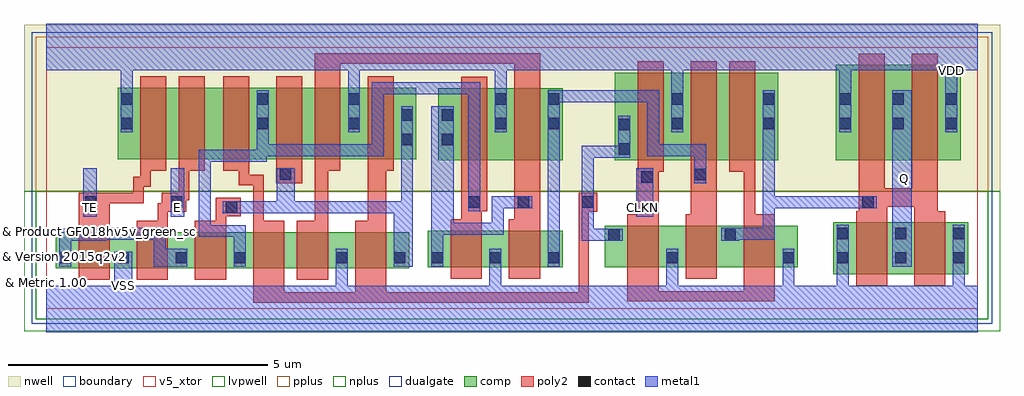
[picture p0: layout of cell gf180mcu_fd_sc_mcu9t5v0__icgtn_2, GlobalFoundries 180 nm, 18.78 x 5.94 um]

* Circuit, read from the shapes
.subckt gf180mcu_fd_sc_mcu9t5v0__icgtn_2 CLKN E Q TE VDD VSS
XM1 VSS TE n1 VSUBS nfet_05v0 w=0.7u l=0.6u
XM2 n1 E VSS VSUBS nfet_05v0 w=0.7u l=0.6u
XM3 n2 n3 n1 VSUBS nfet_05v0 w=0.7u l=0.6u
XM4 n4 n5 n2 VSUBS nfet_05v0 w=0.7u l=0.6u
XM5 VSS n6 n4 VSUBS nfet_05v0 w=0.7u l=0.6u
XM6 n3 n5 VSS VSUBS nfet_05v0 w=0.7u l=0.6u
XM7 VSS n2 n6 VSUBS nfet_05v0 w=0.7u l=0.6u
XM8 n7 n6 VSS VSUBS nfet_05v0 w=0.7u l=0.6u
XM9 VSS CLKN n5 VSUBS nfet_05v0 w=0.8u l=0.6u
XM10 n8 n7 VSS VSUBS nfet_05v0 w=0.8u l=0.6u
XM11 VSS CLKN n8 VSUBS nfet_05v0 w=0.8u l=0.6u
XM12 Q n8 VSS VSUBS nfet_05v0 w=1u l=0.6u m=2
XM13 n9 TE VDD n10 pfet_05v0 w=1.38u l=0.5u
XM14 n11 E n9 n10 pfet_05v0 w=1.38u l=0.5u
XM15 n2 n5 n11 n10 pfet_05v0 w=1.38u l=0.5u
XM16 n12 n3 n2 n10 pfet_05v0 w=1.38u l=0.5u
XM17 VDD n6 n12 n10 pfet_05v0 w=1.38u l=0.5u
XM18 n3 n5 VDD n10 pfet_05v0 w=1.38u l=0.5u
XM19 VDD n2 n6 n10 pfet_05v0 w=1.38u l=0.5u
XM20 n7 n6 VDD n10 pfet_05v0 w=1.38u l=0.5u
XM21 VDD CLKN n5 n10 pfet_05v0 w=1.68u l=0.5u
XM22 n13 n7 VDD n10 pfet_05v0 w=1.68u l=0.5u
XM23 n8 CLKN n13 n10 pfet_05v0 w=1.68u l=0.5u
XM24 Q n8 VDD n10 pfet_05v0 w=1.83u l=0.5u m=2
.ends

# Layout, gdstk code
import gdstk
lib = gdstk.Library(unit=1e-6, precision=1e-09)
def R(c, l, rs):  # rectangles x0, y0, x1, y1
    for r in rs: c.add(gdstk.rectangle(r[:2], r[2:], *l))
def A(c, l, x, y, w, h, nx, ny, dx, dy):  # array of equal rectangles
    R(c, l, [(x+i*dx, y+j*dy, x+i*dx+w, y+j*dy+h) for i in range(nx) for j in range(ny)])
def P(c, l, *ps):  # polygons
    for p in ps: c.add(gdstk.Polygon(p, *l))
boundary = (0, 0)
nwell = (21, 0)
comp = (22, 0)
poly2 = (30, 0)
pplus = (31, 0)
nplus = (32, 0)
contact = (33, 0)
metal1 = (34, 0)
dualgate = (55, 0)
v5_xtor = (112, 1)
lvpwell = (204, 0)

gf180mcu_fd_sc_mcu9t5v0_ = lib.new_cell('gf180mcu_fd_sc_mcu9t5v0__icgtn_2')
R(gf180mcu_fd_sc_mcu9t5v0_, boundary, [(0,0,17.92,5.04)])
R(gf180mcu_fd_sc_mcu9t5v0_, nwell, [(-0.43,2.265,18.35,5.47)])
R(gf180mcu_fd_sc_mcu9t5v0_, comp, [(15.14,0.665,17.74,1.665), (0.18,0.78,6.98,1.48), (7.34,0.805,9.94,1.505), (10.74,0.805,14.46,1.605), (7.54,2.865,9.94,4.245), (10.94,2.865,14.08,4.545), (15.19,2.865,17.59,4.695), (1.37,2.88,7.12,4.26)])
R(gf180mcu_fd_sc_mcu9t5v0_, poly2, [(4.42,2.415,4.92,4.48)])
P(gf180mcu_fd_sc_mcu9t5v0_, poly2, [(0.62,0.56),(0.62,2.235),(1.675,2.235),(1.675,2.545),(1.81,2.545),(1.81,4.48),(2.31,4.48),(2.31,2.66),(2.01,2.66),(2.01,2.355),(1.875,2.355),(1.875,2.035),(1.22,2.035),(1.22,0.56)],
  [(1.74,0.56),(1.74,1.7),(2.14,1.7),(2.14,2.035),(2.22,2.035),(2.22,2.235),(2.55,2.235),(2.55,4.48),(3.05,4.48),(3.05,2.66),(2.75,2.66),(2.75,2.095),(2.695,2.095),(2.695,1.875),(2.34,1.875),(2.34,0.56)],
  [(2.86,0.56),(2.86,1.7),(3.26,1.7),(3.26,2.14),(3.74,2.14),(3.74,1.78),(3.46,1.78),(3.46,0.56)],
  [(7.78,0.585),(7.78,1.725),(7.98,1.725),(7.98,4.465),(8.48,4.465),(8.48,1.885),(8.38,1.885),(8.38,0.585)],
  [(4.82,0.56),(4.82,1.7),(5.16,1.7),(5.16,4.92),(9.5,4.92),(9.5,0.585),(8.9,0.585),(8.9,1.725),(9,1.725),(9,4.72),(5.66,4.72),(5.66,2.66),(5.42,2.66),(5.42,0.56)],
  [(3.98,0.12),(3.98,2.38),(3.7,2.38),(3.7,2.66),(3.4,2.66),(3.4,4.48),(3.9,4.48),(3.9,2.58),(4.18,2.58),(4.18,1.7),(4.58,1.7),(4.58,0.32),(5.94,0.32),(5.94,1.7),(6.18,1.7),(6.18,4.48),(6.68,4.48),(6.68,2.66),(6.54,2.66),(6.54,0.32),(10.24,0.32),(10.24,2.235),(10.6,2.235),(10.6,1.875),(10.44,1.875),(10.44,0.12)],
  [(12.3,0.585),(12.3,1.825),(12.4,1.825),(12.4,4.765),(12.9,4.765),(12.9,0.585)],
  [(11.18,0.145),(11.18,1.825),(11.38,1.825),(11.38,4.765),(11.88,4.765),(11.88,2.645),(11.78,2.645),(11.78,0.345),(13.42,0.345),(13.42,2.645),(13.14,2.645),(13.14,4.765),(13.64,4.765),(13.64,1.825),(14.02,1.825),(14.02,0.145)],
  [(15.58,0.445),(15.58,1.885),(15.63,1.885),(15.63,4.915),(16.13,4.915),(16.13,2.325),(16.65,2.325),(16.65,4.915),(17.15,4.915),(17.15,1.885),(17.3,1.885),(17.3,0.445),(16.7,0.445),(16.7,1.965),(16.18,1.965),(16.18,0.445)])
R(gf180mcu_fd_sc_mcu9t5v0_, pplus, [(-0.2,2.265,18.12,5.24)])
R(gf180mcu_fd_sc_mcu9t5v0_, nplus, [(-0.2,-0.2,18.12,2.265)])
A(gf180mcu_fd_sc_mcu9t5v0_, contact, 0.25, 0.875, 0.22, 0.22, 4, 1, 1.12, 0)
A(gf180mcu_fd_sc_mcu9t5v0_, contact, 7.41, 0.875, 0.22, 0.22, 3, 1, 1.12, 0)
A(gf180mcu_fd_sc_mcu9t5v0_, contact, 15.21, 0.875, 0.22, 0.22, 3, 2, 1.12, 0.47)
A(gf180mcu_fd_sc_mcu9t5v0_, contact, 15.26, 3.46, 0.22, 0.22, 3, 2, 1.02, 0.47)
R(gf180mcu_fd_sc_mcu9t5v0_, contact, [(5.57,0.875,5.79,1.095), (6.69,0.875,6.91,1.095), (11.93,0.875,12.15,1.095), (14.17,0.875,14.39,1.095), (10.81,1.315,11.03,1.535), (13.05,1.315,13.27,1.535), (3.45,1.85,3.67,2.07), (0.745,1.945,0.965,2.165), (2.395,1.945,2.615,2.165), (8.12,1.945,8.34,2.165), (9.07,1.945,9.29,2.165), (10.31,1.945,10.53,2.165), (15.7,1.945,15.92,2.165), (11.45,2.43,11.67,2.65), (12.47,2.475,12.69,2.695), (4.495,2.485,4.715,2.705), (11.01,2.97,11.23,3.19), (6.83,3.15,7.05,3.37), (7.61,3.15,7.83,3.37), (11.01,3.44,11.23,3.66), (1.44,3.46,1.66,3.68), (4.05,3.46,4.27,3.68), (5.81,3.46,6.03,3.68), (8.63,3.46,8.85,3.68), (9.65,3.46,9.87,3.68), (12.03,3.46,12.25,3.68), (13.79,3.46,14.01,3.68), (6.83,3.62,7.05,3.84), (7.61,3.62,7.83,3.84), (1.44,3.93,1.66,4.15), (4.05,3.93,4.27,4.15), (5.81,3.93,6.03,4.15), (8.63,3.93,8.85,4.15), (9.65,3.93,9.87,4.15), (12.03,3.93,12.25,4.15), (13.79,3.93,14.01,4.15)])
R(gf180mcu_fd_sc_mcu9t5v0_, metal1, [(16.275,0.815,16.65,4.21), (0.71,1.77,0.97,2.71), (2.39,1.77,2.65,2.71), (11.35,1.77,11.675,2.71)])
P(gf180mcu_fd_sc_mcu9t5v0_, metal1, [(0.245,0.815),(0.245,1.54),(1.065,1.54),(1.065,1.56),(2.295,1.56),(2.295,1.155),(2.715,1.155),(2.715,0.815),(2.065,0.815),(2.065,1.33),(1.16,1.33),(1.16,1.31),(0.475,1.31),(0.475,0.815)],
  [(6.685,0.815),(6.685,1.845),(3.39,1.845),(3.39,2.075),(4.435,2.075),(4.435,2.71),(4.775,2.71),(4.775,2.075),(6.825,2.075),(6.825,3.9),(7.055,3.9),(7.055,0.815)],
  [(3.605,0.815),(3.605,1.385),(2.93,1.385),(2.93,3.065),(4.045,3.065),(4.045,4.21),(4.275,4.21),(4.275,3.17),(6.265,3.17),(6.265,4.36),(8.345,4.36),(8.345,1.885),(8.115,1.885),(8.115,4.13),(6.495,4.13),(6.495,2.94),(4.24,2.94),(4.24,2.835),(3.16,2.835),(3.16,1.615),(3.835,1.615),(3.835,0.815)],
  [(7.405,0.815),(7.405,3.9),(7.835,3.9),(7.835,1.655),(8.575,1.655),(8.575,2.17),(9.35,2.17),(9.35,1.94),(8.805,1.94),(8.805,1.425),(7.635,1.425),(7.635,0.815)],
  [(10.305,1.31),(10.305,3.14),(11.005,3.14),(11.005,3.72),(11.235,3.72),(11.235,2.91),(10.535,2.91),(10.535,1.54),(11.09,1.54),(11.09,1.31)],
  [(9.645,0.815),(9.645,4.21),(11.795,4.21),(11.795,3.17),(12.695,3.17),(12.695,2.415),(12.465,2.415),(12.465,2.94),(11.565,2.94),(11.565,3.98),(9.875,3.98),(9.875,0.815)],
  [(12.99,1.31),(12.99,1.56),(13.785,1.56),(13.785,4.21),(14.015,4.21),(14.015,2.17),(15.98,2.17),(15.98,1.94),(14.015,1.94),(14.015,1.33),(13.33,1.33),(13.33,1.31)],
  [(0,-0.45),(0,0.45),(1.31,0.45),(1.31,1.1),(1.65,1.1),(1.65,0.45),(5.565,0.45),(5.565,1.155),(5.795,1.155),(5.795,0.45),(8.525,0.45),(8.525,1.155),(8.755,1.155),(8.755,0.45),(11.925,0.45),(11.925,1.155),(12.155,1.155),(12.155,0.45),(14.165,0.45),(14.165,1.155),(14.395,1.155),(14.395,0.45),(15.205,0.45),(15.205,1.625),(15.435,1.625),(15.435,0.45),(17.445,0.45),(17.445,1.625),(17.675,1.625),(17.675,0.45),(17.92,0.45),(17.92,-0.45)],
  [(1.435,3.4),(1.435,4.59),(0,4.59),(0,5.49),(17.92,5.49),(17.92,4.59),(17.525,4.59),(17.525,3.4),(17.295,3.4),(17.295,4.59),(15.485,4.59),(15.485,3.4),(15.255,3.4),(15.255,4.59),(12.255,4.59),(12.255,3.4),(12.025,3.4),(12.025,4.59),(8.855,4.59),(8.855,3.4),(8.625,3.4),(8.625,4.59),(6.035,4.59),(6.035,3.4),(5.805,3.4),(5.805,4.59),(1.665,4.59),(1.665,3.4)])
R(gf180mcu_fd_sc_mcu9t5v0_, dualgate, [(-0.28,-0.28,18.2,5.32)])
R(gf180mcu_fd_sc_mcu9t5v0_, v5_xtor, [(0,0,17.92,5.04)])
R(gf180mcu_fd_sc_mcu9t5v0_, lvpwell, [(-0.43,-0.43,18.35,2.265)])
gf180mcu_fd_sc_mcu9t5v0_.add(gdstk.Label('CLKN', (11.48,1.96), layer=34, texttype=10))
gf180mcu_fd_sc_mcu9t5v0_.add(gdstk.Label('E', (2.52,1.96), layer=34, texttype=10))
gf180mcu_fd_sc_mcu9t5v0_.add(gdstk.Label('Q', (16.52,2.52), layer=34, texttype=10))
gf180mcu_fd_sc_mcu9t5v0_.add(gdstk.Label('TE', (0.84,1.96), layer=34, texttype=10))
gf180mcu_fd_sc_mcu9t5v0_.add(gdstk.Label('VDD', (17.41,4.59), layer=34, texttype=10))
gf180mcu_fd_sc_mcu9t5v0_.add(gdstk.Label('VSS', (1.48,0.45), layer=34, texttype=10))
gf180mcu_fd_sc_mcu9t5v0_.add(gdstk.Label('& Vendor GLOBALFOUNDRIES', (0,2), layer=63, texttype=63))
gf180mcu_fd_sc_mcu9t5v0_.add(gdstk.Label('& Product GF018hv5v_green_sc9', (0,1.5), layer=63, texttype=63))
gf180mcu_fd_sc_mcu9t5v0_.add(gdstk.Label('& Version 2015q2v2', (0,1), layer=63, texttype=63))
gf180mcu_fd_sc_mcu9t5v0_.add(gdstk.Label('& Metric 1.00', (0,0.5), layer=63, texttype=63))

lib.write_gds('gf180mcu_fd_sc_mcu9t5v0__icgtn_2.gds')
